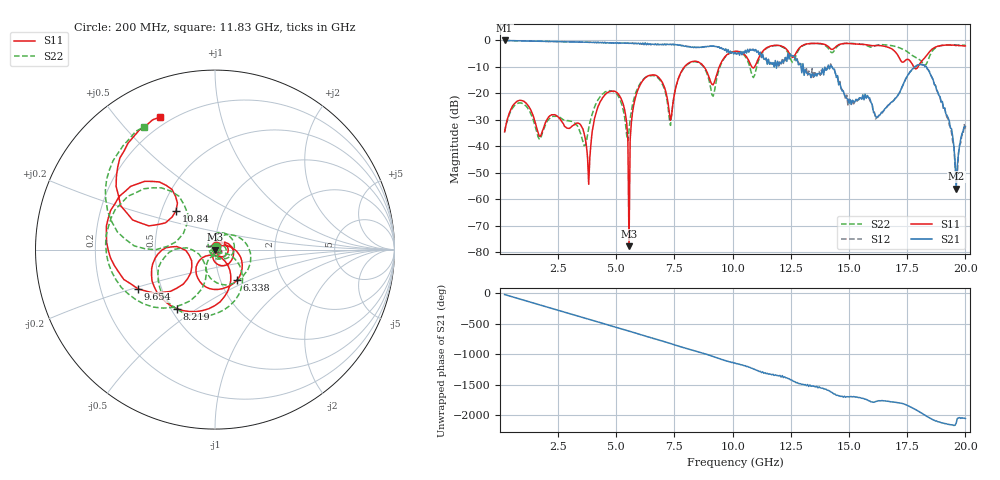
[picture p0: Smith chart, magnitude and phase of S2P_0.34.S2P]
!Agilent Technologies,E5071C,MY46108981,A.11.08
!Date: Sat Oct 19 16:24:46 2019
!Data & Calibration Information:
!Freq	S11:SOLT2(ON)	S21:SOLT2(ON)	S12:SOLT2(ON)	S22:SOLT2(ON)
!PortZ  Port1:50+j0  Port2:50+j0
!Above PortZ is port z conversion or system Z0 setting when saving the data.
!When reading, reference impedance value at option line is always used.
# Hz S RI R 50
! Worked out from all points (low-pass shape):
!   401 points, 200 MHz to 20 GHz, reference 50 ohm
!   highest |S21| = -0.06 dB at 200 MHz (marker M1); lowest = -56.0 dB at 19.6 GHz (marker M2)
!   |S21| within 3 dB of the highest: start of sweep to 9.533 GHz
!   lowest |S11| = -77.7 dB at 5.546 GHz (marker M3), VSWR 1.00, Z = 50 - j0.00511 ohm
!   |S11| at or under -10 dB: start of sweep to 7.933 GHz; 8.77 GHz to 9.425 GHz (655.2 MHz wide, 7.2 % of centre); 10.82 GHz to 10.95 GHz (122.4 MHz wide, 1.12 % of centre)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
!   |S22| runs from -39.8 to -1.1 dB; largest |S21 - S12| = 0.08
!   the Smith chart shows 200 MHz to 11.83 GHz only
!   S11 on the Smith chart (normalised r, x): 200 MHz: 1.01, +0.04; 6.338 GHz: 1.19, -0.43; 8.219 GHz: 0.54, -0.42; 9.654 GHz: 0.37, -0.21; 10.84 GHz: 0.59, +0.28; 11.83 GHz: 0.16, +0.66
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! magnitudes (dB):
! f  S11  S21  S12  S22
! 200 MHz  -34.5  -0.1  -0.1  -34.8
! 893 MHz  -22.7  -0.2  -0.2  -23.6
! 3.516 GHz  -32.7  -0.7  -0.7  -36.8
! 3.813 GHz  -54.3  -0.7  -0.7  -33.2
! 4.259 GHz  -24.2  -1.0  -0.9  -21.8
! 4.952 GHz  -19.3  -0.9  -0.9  -19.7
! 5.546 GHz  -77.7  -1.1  -1.2  -33.9
! 5.793 GHz  -22.6  -1.2  -1.1  -21.0
! 6.338 GHz  -13.6  -1.1  -1.5  -13.6
! 6.833 GHz  -14.1  -1.7  -1.6  -14.6
! 7.328 GHz  -30.2  -1.5  -1.5  -32.1
! 8.219 GHz  -8.1  -2.7  -2.6  -8.3
! 9.159 GHz  -16.8  -2.2  -2.2  -21.1
! 9.654 GHz  -6.4  -3.8  -3.6  -6.6
! 10.1 GHz  -4.2  -4.5  -4.8  -4.3
! 10.84 GHz  -10.3  -3.7  -3.4  -13.4
! 11.83 GHz  -1.9  -7.6  -8.4  -2.0
! 13.42 GHz  -1.2  -12.5  -10.7  -1.2
! 16.73 GHz  -2.8  -24.2  -24.2  -1.9
! 18.27 GHz  -6.5  -10.0  -9.7  -9.4
! 19.6 GHz  -2.0  -56.0  -50.2  -1.8
! 20 GHz  -2.2  -32.5  -33.4  -1.9
